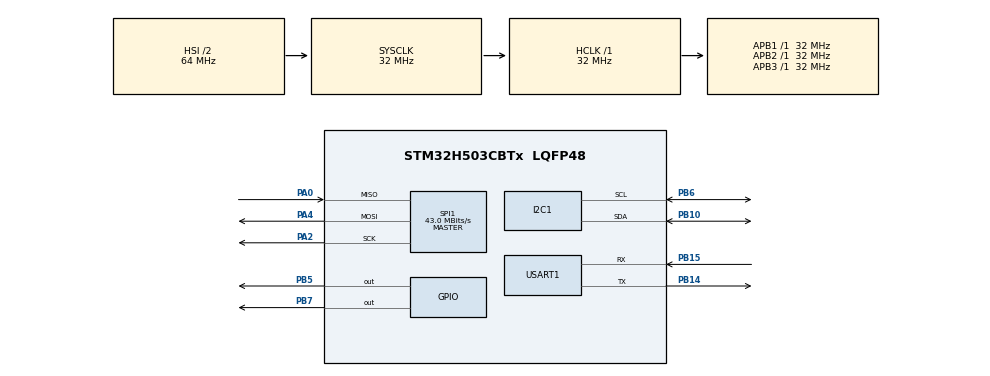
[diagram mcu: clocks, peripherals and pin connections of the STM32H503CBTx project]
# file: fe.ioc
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BOOTPATH.BootPathName=LEGACY
BOOTPATH.UserSelectedBootPath=LEGACY
I2C1.Timing=0x00707CBB
Mcu.Family=STM32H5
Mcu.Name=STM32H503CBTx
Mcu.Package=LQFP48
NVIC.PriorityGroup=NVIC_PRIORITYGROUP_4
NVIC.USART1_IRQn=true\:0\:0\:false\:false\:true\:true\:true\:true
PA0.Mode=Full_Duplex_Master
PA0.Signal=SPI1_MISO
PA2.Mode=Full_Duplex_Master
PA2.Signal=SPI1_SCK
PA4.Mode=Full_Duplex_Master
PA4.Signal=SPI1_MOSI
PB10.Mode=I2C
PB10.Signal=I2C1_SDA
PB14.Mode=Asynchronous
PB14.Signal=USART1_TX
PB15.Mode=Asynchronous
PB15.Signal=USART1_RX
PB5.Signal=GPIO_Output
PB6.Mode=I2C
PB6.Signal=I2C1_SCL
PB7.Signal=GPIO_Output
ProjectManager.HeapSize=0x200
ProjectManager.StackSize=0x400
ProjectManager.TargetToolchain=STM32CubeIDE
RCC.ADCFreq_Value=32000000
RCC.AHBFreq_Value=32000000
RCC.APB1Freq_Value=32000000
RCC.APB1TimFreq_Value=32000000
RCC.APB2Freq_Value=32000000
RCC.APB2TimFreq_Value=32000000
RCC.APB3Freq_Value=32000000
RCC.CSI_VALUE=4000000
RCC.CortexFreq_Value=32000000
RCC.EPOD_VALUE=4000000
RCC.HCLKFreq_Value=32000000
RCC.HSE_VALUE=25000000
RCC.HSI48_VALUE=48000000
RCC.HSI_VALUE=64000000
RCC.LSE_VALUE=32768
RCC.LSIRC_VALUE=32000
RCC.PLL1Q=6
RCC.SYSCLKFreq_VALUE=32000000
RCC.USBFreq_Value=48000000
RCC.VCOOutputFreq_Value=516000000
SPI1.CalculateBaudRate=43.0 MBits/s
SPI1.Direction=SPI_DIRECTION_2LINES
SPI1.Mode=SPI_MODE_MASTER
SPI1.VirtualType=VM_MASTER
USART1.VirtualMode-Asynchronous=VM_ASYNC
VP_BOOTPATH_VS_BOOTPATH.Mode=BP_Activate
VP_CORTEX_M33_NS_VS_Hclk.Mode=Hclk_Mode
VP_MEMORYMAP_VS_MEMORYMAP.Mode=CurAppReg
VP_PWR_VS_LPOM.Mode=PowerOptimisation
VP_PWR_VS_SECSignals.Mode=Security/Privilege
board=custom

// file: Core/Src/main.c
/* USER CODE BEGIN Header */
/**
  ******************************************************************************
  * @file           : main.c
  * @brief          : Main program body
  ******************************************************************************
  * @attention
  *
  * Copyright (c) 2025 STMicroelectronics.
  * All rights reserved.
  *
  * This software is licensed under terms that can be found in the LICENSE file
  * in the root directory of this software component.
  * If no LICENSE file comes with this software, it is provided AS-IS.
  *
  ******************************************************************************
  */
/* USER CODE END Header */
#include "main.h"

#include "func.h"

I2C_HandleTypeDef hi2c1;

SPI_HandleTypeDef hspi1;

UART_HandleTypeDef huart1;

/* USER CODE BEGIN PV */
uint8_t buffer[2] =  {};
uint8_t mess[]="LED OFF\r\n";
uint8_t flag=0;
void HAL_UART_RxCpltCallback(UART_HandleTypeDef *huart){
	if (huart->Instance==USART1){
		if(buffer[0]=='O'&& buffer[1]=='F'){
			Send_Massage(mess);

			flag=1;

		}
		else if(buffer[0]=='O'&& buffer[1]=='N'){
			Send_Massage((uint8_t*)"LED ON\r\n");

			flag=2;

		}
		else if(buffer[0]=='B'&& buffer[1]=='L'){
			Send_Massage((uint8_t*)"BLINK ON\r\n");

			flag=0;
		}

		HAL_UART_Receive_IT(&huart1, buffer, 2);
	}
}

/* USER CODE END PV */

void SystemClock_Config(void);
static void MX_GPIO_Init(void);
static void MX_USART1_UART_Init(void);
static void MX_I2C1_Init(void);
static void MX_SPI1_Init(void);

int main(void)
{

  /* MCU Configuration--------------------------------------------------------*/

  /* Reset of all peripherals, Initializes the Flash interface and the Systick. */
  HAL_Init();

  /* Configure the system clock */
  SystemClock_Config();

  /* Initialize all configured peripherals */
  MX_GPIO_Init();
  MX_USART1_UART_Init();
  MX_I2C1_Init();
  MX_SPI1_Init();

  /* Infinite loop */
  /* USER CODE BEGIN WHILE *
   */
  HAL_Delay(500);
  Send_Massage((uint8_t*)"Start program \r\n ");
  HAL_Delay(2000);
  Send_Massage((uint8_t*)"-------------------- \r\n ");
  Send_Massage((uint8_t*)" \"BL\"- BLINK LED \r\n ");

  Send_Massage((uint8_t*)" \"ON\"-  LED ON \r\n ");
  Send_Massage((uint8_t*)" \"OF\"-  LED OFF \r\n ");
  Send_Massage((uint8_t*)"-------------------- \r\n ");
  HAL_UART_Receive_IT(&huart1, buffer, 2);
  while (1)
  {
    /* USER CODE END WHILE */
	if(flag==0){
		HAL_GPIO_TogglePin(GPIOB, GPIO_PIN_7);
		HAL_Delay(500);
	}
	else if(flag==1){
		HAL_GPIO_WritePin(GPIOB, GPIO_PIN_7, GPIO_PIN_RESET);
		HAL_Delay(200);

	}
	else if(flag==2){
		HAL_GPIO_WritePin(GPIOB, GPIO_PIN_7, GPIO_PIN_SET);
		HAL_Delay(200);

	}

  }
}

void SystemClock_Config(void)
{
  RCC_OscInitTypeDef RCC_OscInitStruct = {0};
  RCC_ClkInitTypeDef RCC_ClkInitStruct = {0};

  /** Configure the main internal regulator output voltage
  */
  __HAL_PWR_VOLTAGESCALING_CONFIG(PWR_REGULATOR_VOLTAGE_SCALE3);

  while(!__HAL_PWR_GET_FLAG(PWR_FLAG_VOSRDY)) {}

  /** Initializes the RCC Oscillators according to the specified parameters
  * in the RCC_OscInitTypeDef structure.
  */
  RCC_OscInitStruct.OscillatorType = RCC_OSCILLATORTYPE_HSI|RCC_OSCILLATORTYPE_CSI;
  RCC_OscInitStruct.HSIState = RCC_HSI_ON;
  RCC_OscInitStruct.HSIDiv = RCC_HSI_DIV2;
  RCC_OscInitStruct.HSICalibrationValue = RCC_HSICALIBRATION_DEFAULT;
  RCC_OscInitStruct.CSIState = RCC_CSI_ON;
  RCC_OscInitStruct.CSICalibrationValue = RCC_CSICALIBRATION_DEFAULT;
  RCC_OscInitStruct.PLL.PLLState = RCC_PLL_ON;
  RCC_OscInitStruct.PLL.PLLSource = RCC_PLL1_SOURCE_CSI;
  RCC_OscInitStruct.PLL.PLLM = 1;
  RCC_OscInitStruct.PLL.PLLN = 129;
  RCC_OscInitStruct.PLL.PLLP = 2;
  RCC_OscInitStruct.PLL.PLLQ = 6;
  RCC_OscInitStruct.PLL.PLLR = 2;
  RCC_OscInitStruct.PLL.PLLRGE = RCC_PLL1_VCIRANGE_2;
  RCC_OscInitStruct.PLL.PLLVCOSEL = RCC_PLL1_VCORANGE_WIDE;
  RCC_OscInitStruct.PLL.PLLFRACN = 0;
  if (HAL_RCC_OscConfig(&RCC_OscInitStruct) != HAL_OK)
  {
    Error_Handler();
  }

  /** Initializes the CPU, AHB and APB buses clocks
  */
  RCC_ClkInitStruct.ClockType = RCC_CLOCKTYPE_HCLK|RCC_CLOCKTYPE_SYSCLK
                              |RCC_CLOCKTYPE_PCLK1|RCC_CLOCKTYPE_PCLK2
                              |RCC_CLOCKTYPE_PCLK3;
  RCC_ClkInitStruct.SYSCLKSource = RCC_SYSCLKSOURCE_HSI;
  RCC_ClkInitStruct.AHBCLKDivider = RCC_SYSCLK_DIV1;
  RCC_ClkInitStruct.APB1CLKDivider = RCC_HCLK_DIV1;
  RCC_ClkInitStruct.APB2CLKDivider = RCC_HCLK_DIV1;
  RCC_ClkInitStruct.APB3CLKDivider = RCC_HCLK_DIV1;

  if (HAL_RCC_ClockConfig(&RCC_ClkInitStruct, FLASH_LATENCY_1) != HAL_OK)
  {
    Error_Handler();
  }

  /** Configure the programming delay
  */
  __HAL_FLASH_SET_PROGRAM_DELAY(FLASH_PROGRAMMING_DELAY_0);
}

static void MX_I2C1_Init(void)
{

  hi2c1.Instance = I2C1;
  hi2c1.Init.Timing = 0x00707CBB;
  hi2c1.Init.OwnAddress1 = 0;
  hi2c1.Init.AddressingMode = I2C_ADDRESSINGMODE_7BIT;
  hi2c1.Init.DualAddressMode = I2C_DUALADDRESS_DISABLE;
  hi2c1.Init.OwnAddress2 = 0;
  hi2c1.Init.OwnAddress2Masks = I2C_OA2_NOMASK;
  hi2c1.Init.GeneralCallMode = I2C_GENERALCALL_DISABLE;
  hi2c1.Init.NoStretchMode = I2C_NOSTRETCH_DISABLE;
  if (HAL_I2C_Init(&hi2c1) != HAL_OK)
  {
    Error_Handler();
  }

  /** Configure Analogue filter
  */
  if (HAL_I2CEx_ConfigAnalogFilter(&hi2c1, I2C_ANALOGFILTER_ENABLE) != HAL_OK)
  {
    Error_Handler();
  }

  /** Configure Digital filter
  */
  if (HAL_I2CEx_ConfigDigitalFilter(&hi2c1, 0) != HAL_OK)
  {
    Error_Handler();
  }

}

static void MX_SPI1_Init(void)
{

  /* SPI1 parameter configuration*/
  hspi1.Instance = SPI1;
  hspi1.Init.Mode = SPI_MODE_MASTER;
  hspi1.Init.Direction = SPI_DIRECTION_2LINES;
  hspi1.Init.DataSize = SPI_DATASIZE_4BIT;
  hspi1.Init.CLKPolarity = SPI_POLARITY_LOW;
  hspi1.Init.CLKPhase = SPI_PHASE_1EDGE;
  hspi1.Init.NSS = SPI_NSS_SOFT;
  hspi1.Init.BaudRatePrescaler = SPI_BAUDRATEPRESCALER_2;
  hspi1.Init.FirstBit = SPI_FIRSTBIT_MSB;
  hspi1.Init.TIMode = SPI_TIMODE_DISABLE;
  hspi1.Init.CRCCalculation = SPI_CRCCALCULATION_DISABLE;
  hspi1.Init.CRCPolynomial = 0x7;
  hspi1.Init.NSSPMode = SPI_NSS_PULSE_ENABLE;
  hspi1.Init.NSSPolarity = SPI_NSS_POLARITY_LOW;
  hspi1.Init.FifoThreshold = SPI_FIFO_THRESHOLD_01DATA;
  hspi1.Init.MasterSSIdleness = SPI_MASTER_SS_IDLENESS_00CYCLE;
  hspi1.Init.MasterInterDataIdleness = SPI_MASTER_INTERDATA_IDLENESS_00CYCLE;
  hspi1.Init.MasterReceiverAutoSusp = SPI_MASTER_RX_AUTOSUSP_DISABLE;
  hspi1.Init.MasterKeepIOState = SPI_MASTER_KEEP_IO_STATE_DISABLE;
  hspi1.Init.IOSwap = SPI_IO_SWAP_DISABLE;
  hspi1.Init.ReadyMasterManagement = SPI_RDY_MASTER_MANAGEMENT_INTERNALLY;
  hspi1.Init.ReadyPolarity = SPI_RDY_POLARITY_HIGH;
  if (HAL_SPI_Init(&hspi1) != HAL_OK)
  {
    Error_Handler();
  }

}

static void MX_USART1_UART_Init(void)
{

  huart1.Instance = USART1;
  huart1.Init.BaudRate = 115200;
  huart1.Init.WordLength = UART_WORDLENGTH_8B;
  huart1.Init.StopBits = UART_STOPBITS_1;
  huart1.Init.Parity = UART_PARITY_NONE;
  huart1.Init.Mode = UART_MODE_TX_RX;
  huart1.Init.HwFlowCtl = UART_HWCONTROL_NONE;
  huart1.Init.OverSampling = UART_OVERSAMPLING_16;
  huart1.Init.OneBitSampling = UART_ONE_BIT_SAMPLE_DISABLE;
  huart1.Init.ClockPrescaler = UART_PRESCALER_DIV1;
  huart1.AdvancedInit.AdvFeatureInit = UART_ADVFEATURE_NO_INIT;
  if (HAL_UART_Init(&huart1) != HAL_OK)
  {
    Error_Handler();
  }
  if (HAL_UARTEx_SetTxFifoThreshold(&huart1, UART_TXFIFO_THRESHOLD_1_8) != HAL_OK)
  {
    Error_Handler();
  }
  if (HAL_UARTEx_SetRxFifoThreshold(&huart1, UART_RXFIFO_THRESHOLD_1_8) != HAL_OK)
  {
    Error_Handler();
  }
  if (HAL_UARTEx_DisableFifoMode(&huart1) != HAL_OK)
  {
    Error_Handler();
  }

}

static void MX_GPIO_Init(void)
{
  GPIO_InitTypeDef GPIO_InitStruct = {0};

  /* GPIO Ports Clock Enable */
  __HAL_RCC_GPIOA_CLK_ENABLE();
  __HAL_RCC_GPIOB_CLK_ENABLE();

  /*Configure GPIO pin Output Level */
  HAL_GPIO_WritePin(GPIOB, GPIO_PIN_5|GPIO_PIN_7, GPIO_PIN_RESET);

  /*Configure GPIO pins : PB5 PB7 */
  GPIO_InitStruct.Pin = GPIO_PIN_5|GPIO_PIN_7;
  GPIO_InitStruct.Mode = GPIO_MODE_OUTPUT_PP;
  GPIO_InitStruct.Pull = GPIO_NOPULL;
  GPIO_InitStruct.Speed = GPIO_SPEED_FREQ_LOW;
  HAL_GPIO_Init(GPIOB, &GPIO_InitStruct);

}

void Error_Handler(void)
{
  __disable_irq();
  while (1)
  {
  }
}
